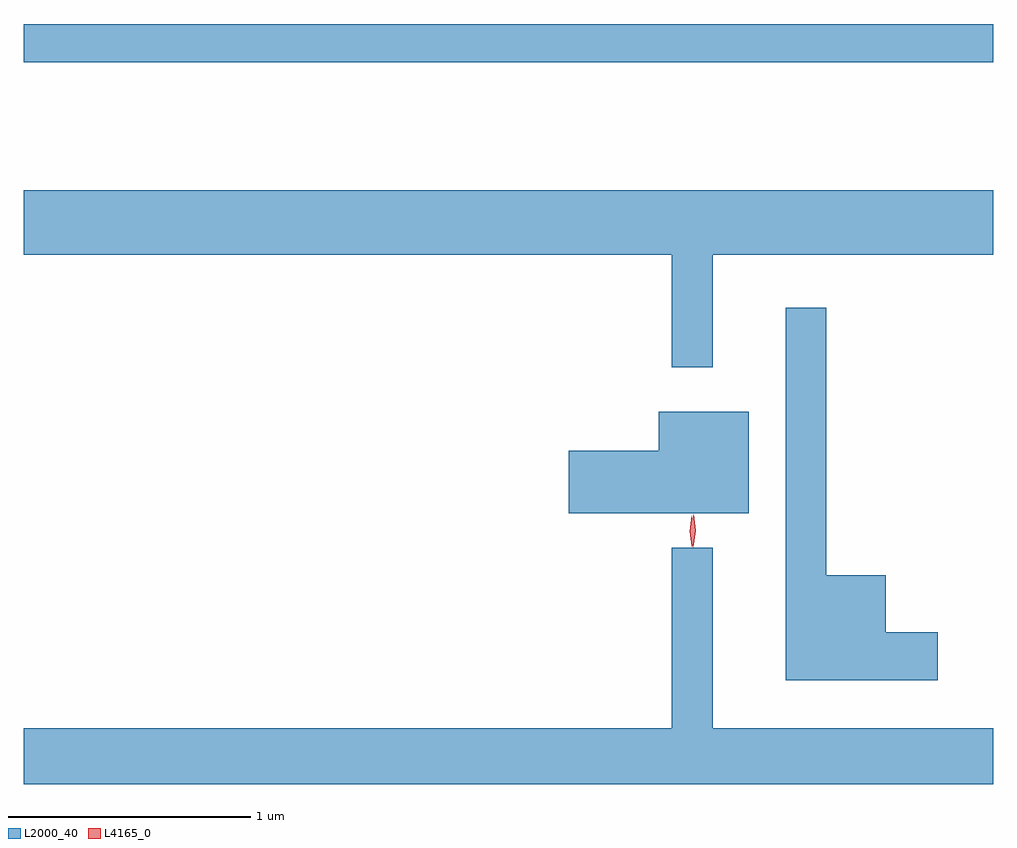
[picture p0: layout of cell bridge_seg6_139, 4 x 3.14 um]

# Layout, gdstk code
import gdstk
lib = gdstk.Library(unit=1e-6, precision=1e-09)
def R(c, l, rs):  # rectangles x0, y0, x1, y1
    for r in rs: c.add(gdstk.rectangle(r[:2], r[2:], *l))
def P(c, l, *ps):  # polygons
    for p in ps: c.add(gdstk.Polygon(p, *l))
L2000_40 = (2000, 40)
L4165_0 = (4165, 0)

bridge_seg6_139 = lib.new_cell('bridge_seg6_139')
R(bridge_seg6_139, L2000_40, [(1024.457,1615.211,1028.457,1615.369)])
P(bridge_seg6_139, L2000_40, [(1027.299,1614.416),(1028.457,1614.416),(1028.457,1614.684),(1024.457,1614.684),(1024.457,1614.416),(1027.131,1614.416),(1027.131,1613.953),(1027.299,1613.953)],
  [(1028.229,1612.859),(1028.014,1612.859),(1028.014,1613.094),(1027.769,1613.094),(1027.769,1614.198),(1027.601,1614.198),(1027.601,1612.661),(1028.229,1612.661)],
  [(1027.449,1613.769),(1027.076,1613.769),(1027.076,1613.609),(1026.706,1613.609),(1026.706,1613.351),(1027.449,1613.351)],
  [(1028.457,1612.464),(1027.299,1612.464),(1027.299,1613.208),(1027.131,1613.208),(1027.131,1612.464),(1024.457,1612.464),(1024.457,1612.233),(1028.457,1612.233)])
P(bridge_seg6_139, L4165_0, [(1027.22,1613.209),(1027.219,1613.21),(1027.21,1613.278),(1027.221,1613.346),(1027.221,1613.346),(1027.222,1613.346),(1027.23,1613.278),(1027.22,1613.21)],
  [(1027.215,1613.213),(1027.214,1613.214),(1027.204,1613.276),(1027.213,1613.339),(1027.214,1613.34),(1027.214,1613.339),(1027.224,1613.276),(1027.215,1613.214)])

lib.write_gds('bridge_seg6_139.gds')
